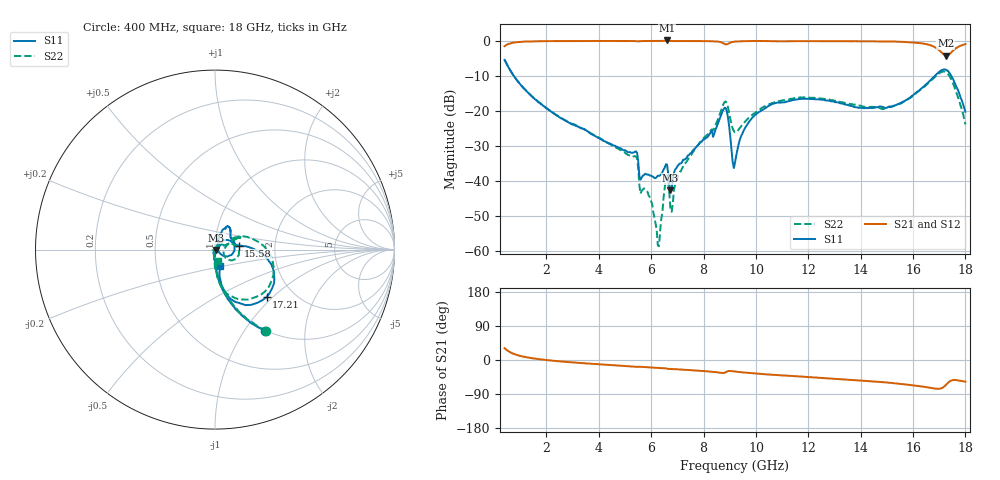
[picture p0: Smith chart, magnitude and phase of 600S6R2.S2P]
!  American Technical Ceramics  Date:  10/26/00
!  One Norden Lane
!  Huntington Station,  NY.  11746-2102
!  Tel:  (631) 622-4700  Fax:  (631) 622-4748
!  Part Number  600S6R2  Mounting Orientation: Horizontal
!  Description: Ultra Low ESR Microwave capacitors
!  Application: Coupling, Bypass, Tuning, DC Block
!  Filters, Matching
# GHZ S DB R 50
! Freq  |S11|  S11 Ph  |S21|  S21 Ph  |S12|  S12 Ph  |S22|  S22 Ph
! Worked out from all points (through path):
!   401 points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, 400 MHz to 18 GHz, reference 50 ohm
!   highest |S21| = 0.08 dB at 6.604 GHz (marker M1); lowest = -4.2 dB at 17.25 GHz (marker M2)
!   group delay of S21, straight-line fit = 12.6 ps
!   lowest |S11| = -42.7 dB at 6.736 GHz (marker M3), VSWR 1.01, Z = 50.7 - j0.144 ohm
!   |S11| at or under -10 dB: 749.2 MHz to 16.84 GHz (16.09 GHz wide, 183 % of centre); 17.46 GHz to end of sweep
!   |S22| runs from -58.5 to -5.4 dB; largest |S21 - S12| = 0.008
!   S11 on the Smith chart (normalised r, x): 400 MHz: 0.99, -1.25; 15.58 GHz: 1.30, +0.06; 17.21 GHz: 1.47, -0.92; 18 GHz: 1.04, -0.19
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0.4  -5.46 -58.2  -1.56 31.3  -1.57 31.3  -5.43 -57.6
1.588  -16.84 -85.1  -0.15 3.3  -0.15 3.2  -16.78 -84.8
3.348  -24.99 -92.7  -0.08 -8.1  -0.07 -8.1  -24.95 -93.9
5.372  -31.67 -90.2  -0.10 -17.7  -0.09 -17.7  -32.87 -121.9
5.636  -39.00 -75.7  -0.09 -18.2  -0.08 -18.2  -42.79 -118.0
5.944  -38.41 -56.9  -0.07 -19.7  -0.06 -19.6  -44.53 -121.0
6.296  -38.54 -25.5  -0.07 -21.2  -0.06 -21.1  -58.54 114.7
6.604  -35.26 -34.1  0.08 -22.9  0.08 -22.7  -38.40 29.0
6.736  -42.67 -11.1  -0.05 -23.8  -0.06 -23.8  -48.11 18.3
7.132  -34.98 23.5  -0.08 -25.1  -0.07 -25.0  -37.21 64.9
8.452  -25.46 53.9  -0.18 -32.0  -0.17 -31.8  -24.05 25.0
8.804  -19.10 10.8  -0.92 -33.7  -0.91 -33.6  -17.46 -2.0
9.2  -34.78 41.2  -0.24 -30.5  -0.23 -30.4  -26.11 -12.3
9.508  -26.00 70.1  -0.14 -32.8  -0.12 -32.6  -23.70 16.9
10.036  -20.73 70.3  -0.06 -35.9  -0.05 -35.8  -20.19 26.9
12.148  -16.59 57.7  -0.13 -45.9  -0.12 -45.7  -16.29 25.8
15.096  -18.79 16.1  -0.19 -60.2  -0.18 -60.0  -18.77 32.4
15.58  -17.50 9.5  -0.32 -63.5  -0.30 -63.4  -17.70 31.0
16.636  -11.49 -5.7  -1.21 -73.2  -1.21 -72.9  -11.71 6.8
17.208  -8.16 -42.6  -4.09 -69.2  -4.07 -68.9  -8.79 -39.9
17.252  -8.27 -47.1  -4.23 -66.1  -4.20 -65.7  -8.91 -44.9
18  -20.26 -71.7  -0.95 -57.3  -0.95 -57.1  -23.85 -74.3
